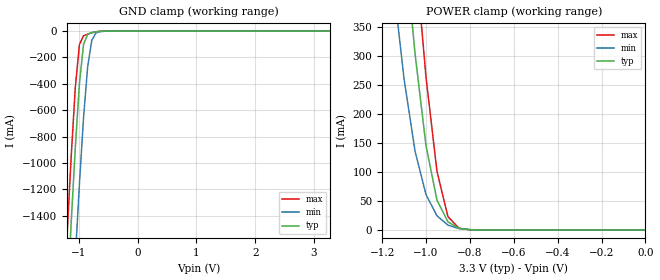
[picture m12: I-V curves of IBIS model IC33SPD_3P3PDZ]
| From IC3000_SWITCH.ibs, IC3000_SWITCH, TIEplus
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|   Model IC33SPD_3P3PDZ
[Model]   IC33SPD_3P3PDZ
Model_type   Input
Polarity   Non-Inverting
Vinl =   0.9900V
Vinh =   2.3100V
C_comp   2.1080pF   2.1980pF   2.1240pF
[Model Spec]
|   typ   min   max
Vinh   2.31V   2.10V   2.52V
Vinl   0.99V   0.90V   1.08V
[Temperature Range]   25.0000   0.1250k   -40.0000
[Voltage Range]   3.3000V   3.0000V   3.6000V
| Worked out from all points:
|   GND clamp passes 1 mA (typ) near -0.59 V on its own axis
|   POWER clamp passes 1 mA (typ) near -0.81 V on its own axis
| (Vdd votage range)   1.50V   1.35V   1.65V
| (Process strength)   nominal   weak   strong
[GND_clamp]
| voltage   I(typ)   I(min)   I(max)
-3.3V     -22.44A    -23.23A    -22.01A
-1.2V     -2.062A    -2.938A    -1.55A
-1.13V    -1.453A    -2.319A    -952.1mA
-1.06V    -884.3mA   -1.722A    -427mA
-990mV    -399.1mA   -1.159A    -102.3mA
-920mV    -102mA     -657.3mA   -35.65mA
-850mV    -24.66mA   -270.7mA   -22.38mA
-780mV    -11.46mA   -70.03mA   -12.94mA
-710mV    -5.644mA   -15.3mA    -5.841mA
-640mV    -2.142mA   -4.304mA   -1.756mA
3.28V     185.9pA    3.216nA    160.4pA
[POWER_clamp]
| voltage   I(typ)   I(min)   I(max)
-3.3V     12.64A     11.74A     13.39A
-1.15V    732.8mA    427.8mA    979.7mA
-1.1V     506.2mA    260.6mA    722.8mA
-1.05V    304.3mA    136mA      480.1mA
-1V       145.5mA    61.04mA    263.8mA
-950mV    51.56mA    24.44mA    101mA
-900mV    14.01mA    8.383mA    22.94mA
-850mV    2.793mA    2.36mA     3.142mA
-800mV    442.5uA    587.5uA    300.2uA
-750mV    66.2uA     140.7uA    26.86uA
0V        188.1pA    2.741nA    180pA
